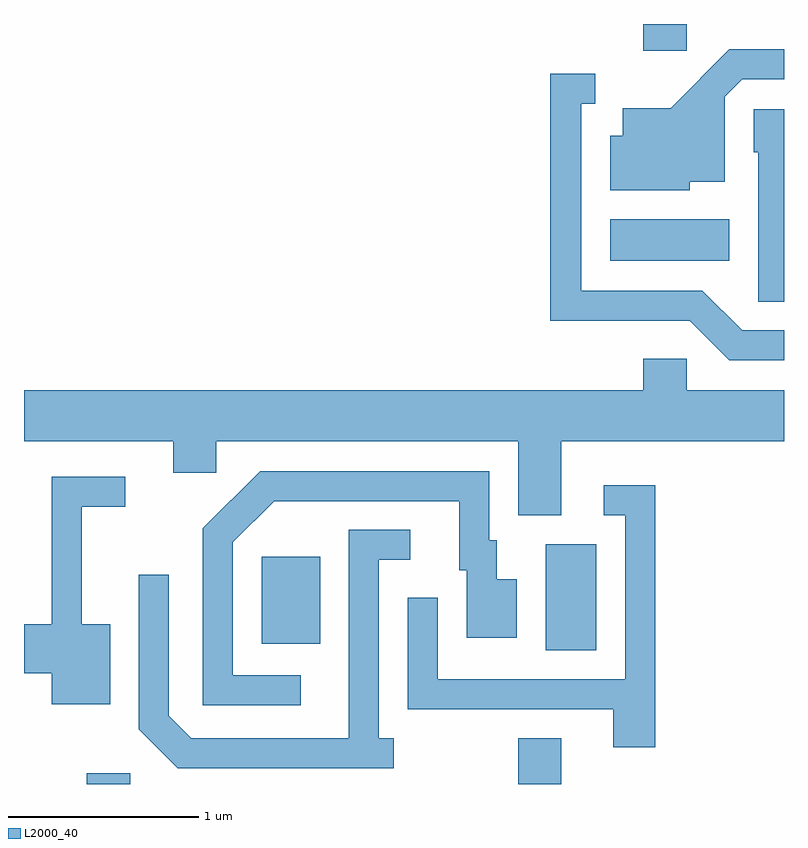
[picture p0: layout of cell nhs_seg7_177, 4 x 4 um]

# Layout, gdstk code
import gdstk
lib = gdstk.Library(unit=1e-6, precision=1e-09)
def R(c, l, rs):  # rectangles x0, y0, x1, y1
    for r in rs: c.add(gdstk.rectangle(r[:2], r[2:], *l))
def P(c, l, *ps):  # polygons
    for p in ps: c.add(gdstk.Polygon(p, *l))
L2000_40 = (2000, 40)

nhs_seg7_177 = lib.new_cell('nhs_seg7_177')
R(nhs_seg7_177, L2000_40, [(189.941,1750.252,190.169,1750.309), (192.211,1750.252,192.439,1750.494), (192.356,1750.956,192.624,1751.514), (190.861,1750.991,191.169,1751.449), (192.696,1753.006,193.324,1753.224), (192.871,1754.111,193.099,1754.252)])
P(nhs_seg7_177, L2000_40, [(193.114,1753.421),(193.299,1753.421),(193.299,1753.869),(193.392,1753.961),(193.611,1753.961),(193.611,1754.119),(193.324,1754.119),(193.014,1753.809),(192.761,1753.809),(192.761,1753.664),(192.696,1753.664),(192.696,1753.376),(193.114,1753.376)],
  [(193.611,1752.639),(193.392,1752.639),(193.182,1752.849),(192.544,1752.849),(192.544,1753.831),(192.618,1753.831),(192.618,1753.989),(192.381,1753.989),(192.381,1752.691),(193.114,1752.691),(193.324,1752.481),(193.611,1752.481)],
  [(193.611,1753.804),(193.451,1753.804),(193.451,1753.576),(193.476,1753.576),(193.476,1752.791),(193.611,1752.791)],
  [(192.439,1752.056),(193.611,1752.056),(193.611,1752.324),(193.099,1752.324),(193.099,1752.489),(192.871,1752.489),(192.871,1752.324),(189.611,1752.324),(189.611,1752.056),(190.396,1752.056),(190.396,1751.891),(190.624,1751.891),(190.624,1752.056),(192.211,1752.056),(192.211,1751.666),(192.439,1751.666)],
  [(191.068,1750.824),(190.709,1750.824),(190.709,1751.524),(190.927,1751.741),(191.901,1751.741),(191.901,1751.376),(191.941,1751.376),(191.941,1751.021),(192.204,1751.021),(192.204,1751.329),(192.099,1751.329),(192.099,1751.534),(192.059,1751.534),(192.059,1751.899),(190.854,1751.899),(190.551,1751.597),(190.551,1750.666),(191.068,1750.666)],
  [(190.064,1751.094),(189.914,1751.094),(189.914,1751.711),(190.143,1751.711),(190.143,1751.869),(189.756,1751.869),(189.756,1751.094),(189.611,1751.094),(189.611,1750.836),(189.756,1750.836),(189.756,1750.671),(190.064,1750.671)],
  [(192.934,1751.824),(192.663,1751.824),(192.663,1751.666),(192.776,1751.666),(192.776,1750.804),(191.789,1750.804),(191.789,1751.233),(191.631,1751.233),(191.631,1750.646),(192.711,1750.646),(192.711,1750.446),(192.934,1750.446)],
  [(191.558,1750.494),(191.479,1750.494),(191.479,1751.431),(191.643,1751.431),(191.643,1751.589),(191.321,1751.589),(191.321,1750.494),(190.492,1750.494),(190.374,1750.612),(190.374,1751.353),(190.216,1751.353),(190.216,1750.539),(190.419,1750.336),(191.558,1750.336)])

lib.write_gds('nhs_seg7_177.gds')
